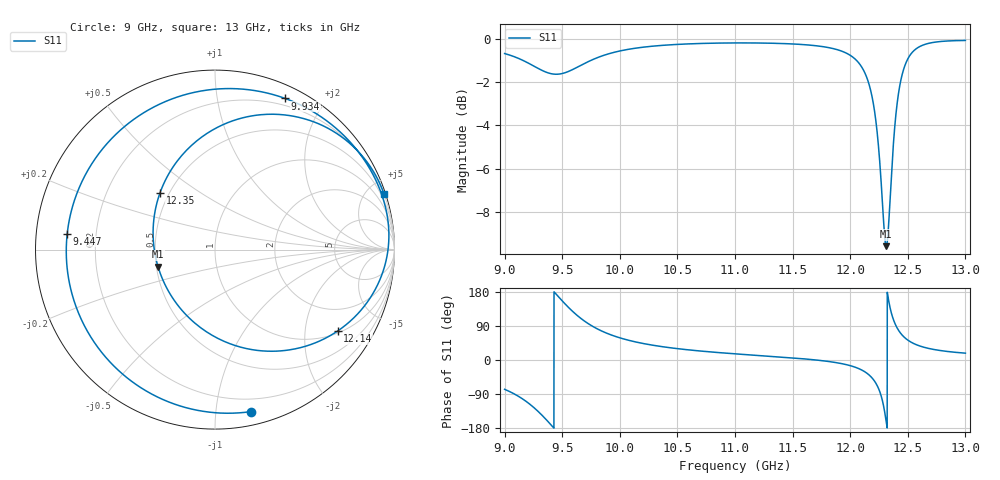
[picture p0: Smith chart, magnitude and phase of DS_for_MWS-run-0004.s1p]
! TOUCHSTONE file generated by CST DESIGN STUDIO
! Date and time: Tue Feb  4 16:38:37 2025
! Project name: C:\Work\MatlabApps\UnitCellOptimizationMatlab\CST\unitcell.cst
! Tree item: Tasks\Sweep1\SPara1\S-Parameters
! Header version: 2024
! Port assignment regex: !\s*Touchstone port\s*([0-9]+)\s*=\s*(CST MWS port|CST DES external port|CST DES block port)\s*(.+)\s* \(\"(.*)\"\)(\s*mode\s*([0-9]+))?.*
! Touchstone port assignment:
! Touchstone port 1 = CST DES external port 1 ("")
# GHz S MA R 50
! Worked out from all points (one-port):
!   4001 points, 9 GHz to 13 GHz, reference 50 ohm
!   lowest |S11| = -9.6 dB at 12.31 GHz (marker M1), VSWR 1.99, Z = 25.5 - j5.42 ohm
!   |S11| at or under -10 dB: nowhere
!   S11 on the Smith chart (normalised r, x): 9 GHz: 0.10, -1.24; 9.447 GHz: 0.09, +0.05; 9.934 GHz: 0.13, +1.56; 12.14 GHz: 1.07, -2.97; 12.35 GHz: 0.45, +0.35; 13 GHz: 0.17, +6.29
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9  0.9247 -77.3
9.133  0.8982 -98.2
9.236  0.8702 -120.9
9.355  0.8384 -155.3
9.447  0.8281 173.8
9.5  0.8313 156.0
9.591  0.8493 128.1
9.682  0.874 105.2
9.788  0.9009 84.8
9.934  0.9284 65.2
10  0.9375 58.5
10.215  0.9575 42.8
10.5  0.9709 30.0
11  0.9786 16.3
11.5  0.9732 5.5
12  0.9162 -14.9
12.139  0.8203 -33.5
12.194  0.7251 -48.8
12.245  0.5666 -74.5
12.279  0.4213 -106.3
12.313  0.3313 -163.4
12.349  0.4397 134.3
12.38  0.5951 102.7
12.411  0.7209 82.7
12.5  0.8985 52.5
12.571  0.9478 40.8
12.666  0.9741 31.6
13  0.9915 18.0
